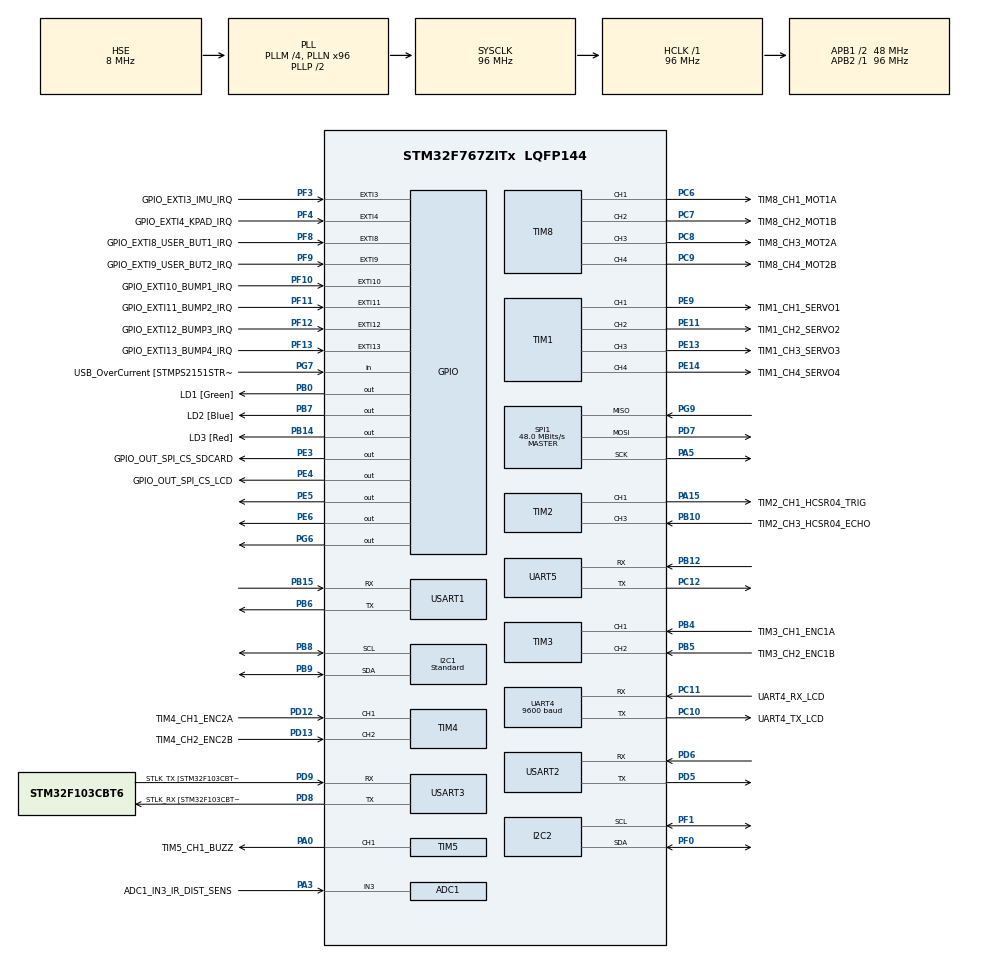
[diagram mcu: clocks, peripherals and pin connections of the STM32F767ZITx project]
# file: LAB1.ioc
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ADC1.Channel-1\#ChannelRegularConversion=ADC_CHANNEL_3
ADC1.NbrOfConversionFlag=1
ADC1.Rank-1\#ChannelRegularConversion=1
ADC1.SamplingTime-1\#ChannelRegularConversion=ADC_SAMPLETIME_3CYCLES
ADC1.master=1
I2C1.I2C_Speed_Mode=I2C_Standard
I2C1.Timing=0x20303E5D
I2C2.Timing=0x20303E5D
Mcu.Family=STM32F7
Mcu.Name=STM32F767ZITx
Mcu.Package=LQFP144
Mcu.UserConstants=TIM8_PSC_VALUE,959;TIM8_ARR_VALUE,400;TIM1_PSC_VALUE,959;TIM1_ARR_VALUE,200
NVIC.EXTI4_IRQn=true\:1\:0\:true\:false\:true\:true\:true\:true
NVIC.EXTI9_5_IRQn=true\:0\:0\:false\:false\:true\:true\:true\:true
NVIC.PriorityGroup=NVIC_PRIORITYGROUP_4
NVIC.TIM6_DAC_IRQn=true\:0\:0\:false\:false\:true\:true\:true\:true
PA0/WKUP.GPIO_Label=TIM5_CH1_BUZZ
PA0/WKUP.Signal=S_TIM5_CH1
PA1.GPIO_Label=RMII_REF_CLK [LAN8742A-CZ-TR_REFCLK0]
PA1.Signal=ETH_REF_CLK
PA10.GPIO_Label=USB_ID
PA10.Signal=USB_OTG_FS_ID
PA11.GPIO_Label=USB_DM
PA11.Signal=USB_OTG_FS_DM
PA12.GPIO_Label=USB_DP
PA12.Signal=USB_OTG_FS_DP
PA13.GPIO_Label=TMS
PA13.Mode=Serial_Wire
PA13.Signal=SYS_JTMS-SWDIO
PA14.GPIO_Label=TCK
PA14.Mode=Serial_Wire
PA14.Signal=SYS_JTCK-SWCLK
PA15.GPIO_Label=TIM2_CH1_HCSR04_TRIG
PA15.Signal=S_TIM2_CH1_ETR
PA2.GPIO_Label=RMII_MDIO [LAN8742A-CZ-TR_MDIO]
PA2.Signal=ETH_MDIO
PA3.GPIO_Label=ADC1_IN3_IR_DIST_SENS
PA3.Signal=ADCx_IN3
PA5.Mode=Full_Duplex_Master
PA5.Signal=SPI1_SCK
PA7.GPIO_Label=RMII_CRS_DV [LAN8742A-CZ-TR_CRS_DV]
PA7.Signal=ETH_CRS_DV
PA8.GPIO_Label=USB_SOF [TP1]
PA8.Signal=USB_OTG_FS_SOF
PA9.GPIO_Label=USB_VBUS
PA9.Signal=USB_OTG_FS_VBUS
PB0.GPIO_Label=LD1 [Green]
PB0.Signal=GPIO_Output
PB10.GPIO_Label=TIM2_CH3_HCSR04_ECHO
PB10.Signal=S_TIM2_CH3
PB12.Mode=Asynchronous
PB12.Signal=UART5_RX
PB13.GPIO_Label=RMII_TXD1 [LAN8742A-CZ-TR_TXD1]
PB13.Signal=ETH_TXD1
PB14.GPIO_Label=LD3 [Red]
PB14.Signal=GPIO_Output
PB15.Mode=Asynchronous
PB15.Signal=USART1_RX
PB3.GPIO_Label=SWO
PB3.Signal=SYS_JTDO-SWO
PB4.GPIO_Label=TIM3_CH1_ENC1A
PB4.Signal=S_TIM3_CH1
PB5.GPIO_Label=TIM3_CH2_ENC1B
PB5.Signal=S_TIM3_CH2
PB6.Mode=Asynchronous
PB6.Signal=USART1_TX
PB7.GPIO_Label=LD2 [Blue]
PB7.Signal=GPIO_Output
PB8.GPIO_Pu=GPIO_PULLUP
PB8.Mode=I2C
PB8.Signal=I2C1_SCL
PB9.GPIO_Pu=GPIO_PULLUP
PB9.Mode=I2C
PB9.Signal=I2C1_SDA
PC1.GPIO_Label=RMII_MDC [LAN8742A-CZ-TR_MDC]
PC1.Signal=ETH_MDC
PC10.GPIO_Label=UART4_TX_LCD
PC10.Mode=Asynchronous
PC10.Signal=UART4_TX
PC11.GPIO_Label=UART4_RX_LCD
PC11.Mode=Asynchronous
PC11.Signal=UART4_RX
PC12.Mode=Asynchronous
PC12.Signal=UART5_TX
PC14/OSC32_IN.Mode=LSE-External-Oscillator
PC14/OSC32_IN.Signal=RCC_OSC32_IN
PC15/OSC32_OUT.Mode=LSE-External-Oscillator
PC15/OSC32_OUT.Signal=RCC_OSC32_OUT
PC4.GPIO_Label=RMII_RXD0 [LAN8742A-CZ-TR_RXD0]
PC4.Signal=ETH_RXD0
PC5.GPIO_Label=RMII_RXD1 [LAN8742A-CZ-TR_RXD1]
PC5.Signal=ETH_RXD1
PC6.GPIO_Label=TIM8_CH1_MOT1A
PC6.Signal=S_TIM8_CH1
PC7.GPIO_Label=TIM8_CH2_MOT1B
PC7.Signal=S_TIM8_CH2
PC8.GPIO_Label=TIM8_CH3_MOT2A
PC8.Signal=S_TIM8_CH3
PC9.GPIO_Label=TIM8_CH4_MOT2B
PC9.Signal=S_TIM8_CH4
PD12.GPIO_Label=TIM4_CH1_ENC2A
PD12.Signal=S_TIM4_CH1
PD13.GPIO_Label=TIM4_CH2_ENC2B
PD13.Signal=S_TIM4_CH2
PD5.Mode=Asynchronous
PD5.Signal=USART2_TX
PD6.Mode=Asynchronous
PD6.Signal=USART2_RX
PD7.Mode=Full_Duplex_Master
PD7.Signal=SPI1_MOSI
PD8.GPIO_Label=STLK_RX [STM32F103CBT6_PA3]
PD8.Mode=Asynchronous
PD8.Signal=USART3_TX
PD9.GPIO_Label=STLK_TX [STM32F103CBT6_PA2]
PD9.Mode=Asynchronous
PD9.Signal=USART3_RX
PE11.GPIO_Label=TIM1_CH2_SERVO2
PE11.Signal=S_TIM1_CH2
PE13.GPIO_Label=TIM1_CH3_SERVO3
PE13.Signal=S_TIM1_CH3
PE14.GPIO_Label=TIM1_CH4_SERVO4
PE14.Signal=S_TIM1_CH4
PE3.GPIO_Label=GPIO_OUT_SPI_CS_SDCARD
PE3.Signal=GPIO_Output
PE4.GPIO_Label=GPIO_OUT_SPI_CS_LCD
PE4.Signal=GPIO_Output
PE5.Signal=GPIO_Output
PE6.Signal=GPIO_Output
PE9.GPIO_Label=TIM1_CH1_SERVO1
PE9.Signal=S_TIM1_CH1
PF0.GPIO_Pu=GPIO_PULLUP
PF0.Mode=I2C
PF0.Signal=I2C2_SDA
PF1.GPIO_Pu=GPIO_PULLUP
PF1.Mode=I2C
PF1.Signal=I2C2_SCL
PF10.GPIO_Label=GPIO_EXTI10_BUMP1_IRQ
PF10.Signal=GPXTI10
PF11.GPIO_Label=GPIO_EXTI11_BUMP2_IRQ
PF11.Signal=GPXTI11
PF12.GPIO_Label=GPIO_EXTI12_BUMP3_IRQ
PF12.Signal=GPXTI12
PF13.GPIO_Label=GPIO_EXTI13_BUMP4_IRQ
PF13.Signal=GPXTI13
PF3.GPIO_Label=GPIO_EXTI3_IMU_IRQ
PF3.Signal=GPXTI3
PF4.GPIO_Label=GPIO_EXTI4_KPAD_IRQ
PF4.GPIO_ModeDefaultEXTI=GPIO_MODE_IT_FALLING
PF4.Signal=GPXTI4
PF8.GPIO_Label=GPIO_EXTI8_USER_BUT1_IRQ
PF8.Signal=GPXTI8
PF9.GPIO_Label=GPIO_EXTI9_USER_BUT2_IRQ
PF9.Signal=GPXTI9
PG11.GPIO_Label=RMII_TX_EN [LAN8742A-CZ-TR_TXEN]
PG11.Signal=ETH_TX_EN
PG13.GPIO_Label=RMII_TXD0 [LAN8742A-CZ-TR_TXD0]
PG13.Signal=ETH_TXD0
PG6.Signal=GPIO_Output
PG7.GPIO_Label=USB_OverCurrent [STMPS2151STR_FAULT]
PG7.Signal=GPIO_Input
PG9.Mode=Full_Duplex_Master
PG9.Signal=SPI1_MISO
PH0/OSC_IN.GPIO_Label=MCO [STM32F103CBT6_PA8]
PH0/OSC_IN.Mode=HSE-External-Clock-Source
PH0/OSC_IN.Signal=RCC_OSC_IN
PH1/OSC_OUT.Mode=HSE-External-Clock-Source
PH1/OSC_OUT.Signal=RCC_OSC_OUT
ProjectManager.HeapSize=0x200
ProjectManager.StackSize=0x400
ProjectManager.TargetToolchain=STM32CubeIDE
RCC.48MHZClocksFreq_Value=24000000
RCC.AHBFreq_Value=96000000
RCC.APB1CLKDivider=RCC_HCLK_DIV2
RCC.APB1Freq_Value=48000000
RCC.APB1TimFreq_Value=96000000
RCC.APB2Freq_Value=96000000
RCC.APB2TimFreq_Value=96000000
RCC.CortexFreq_Value=96000000
RCC.HCLKFreq_Value=96000000
RCC.HSE_VALUE=8000000
RCC.HSI_VALUE=16000000
RCC.PLLM=4
RCC.PLLMUL=RCC_PLL_MUL9
RCC.PLLN=96
RCC.PLLQ=4
RCC.PLLSourceVirtual=RCC_PLLSOURCE_HSE
RCC.PRESCALERUSB=RCC_USBCLKSOURCE_PLL_DIV1_5
RCC.SYSCLKFreq_VALUE=96000000
RCC.SYSCLKSource=RCC_SYSCLKSOURCE_PLLCLK
RCC.SYSCLKSourceVirtual=RCC_SYSCLKSOURCE_PLLCLK
RCC.USBFreq_Value=48000000
RCC.VCOOutputFreq_Value=192000000
SH.ADCx_IN3.0=ADC1_IN3,IN3
SH.S_TIM1_CH1.0=TIM1_CH1,PWM Generation1 CH1
SH.S_TIM1_CH2.0=TIM1_CH2,PWM Generation2 CH2
SH.S_TIM1_CH3.0=TIM1_CH3,PWM Generation3 CH3
SH.S_TIM1_CH4.0=TIM1_CH4,PWM Generation4 CH4
SH.S_TIM2_CH1_ETR.0=TIM2_CH1,PWM Generation1 CH1
SH.S_TIM2_CH3.0=TIM2_CH3,Input_Capture3_from_TI3
SH.S_TIM3_CH1.0=TIM3_CH1,Encoder_Interface
SH.S_TIM3_CH2.0=TIM3_CH2,Encoder_Interface
SH.S_TIM4_CH1.0=TIM4_CH1,Encoder_Interface
SH.S_TIM4_CH2.0=TIM4_CH2,Encoder_Interface
SH.S_TIM5_CH1.0=TIM5_CH1,PWM Generation1 CH1
SH.S_TIM8_CH1.0=TIM8_CH1,PWM Generation1 CH1
SH.S_TIM8_CH2.0=TIM8_CH2,PWM Generation2 CH2
SH.S_TIM8_CH3.0=TIM8_CH3,PWM Generation3 CH3
SH.S_TIM8_CH4.0=TIM8_CH4,PWM Generation4 CH4
SPI1.CalculateBaudRate=48.0 MBits/s
SPI1.Direction=SPI_DIRECTION_2LINES
SPI1.Mode=SPI_MODE_MASTER
SPI1.VirtualType=VM_MASTER
TIM1.Channel-PWM\ Generation1\ CH1=TIM_CHANNEL_1
TIM1.Channel-PWM\ Generation2\ CH2=TIM_CHANNEL_2
TIM1.Channel-PWM\ Generation3\ CH3=TIM_CHANNEL_3
TIM1.Channel-PWM\ Generation4\ CH4=TIM_CHANNEL_4
TIM1.Period=TIM1_ARR_VALUE
TIM1.Prescaler=TIM1_PSC_VALUE
TIM2.Channel-Input_Capture3_from_TI3=TIM_CHANNEL_3
TIM2.Channel-PWM\ Generation1\ CH1=TIM_CHANNEL_1
TIM5.Channel-PWM\ Generation1\ CH1=TIM_CHANNEL_1
TIM6.AutoReloadPreload=TIM_AUTORELOAD_PRELOAD_ENABLE
TIM6.Period=999
TIM6.Prescaler=16999
TIM8.Channel-PWM\ Generation1\ CH1=TIM_CHANNEL_1
TIM8.Channel-PWM\ Generation2\ CH2=TIM_CHANNEL_2
TIM8.Channel-PWM\ Generation3\ CH3=TIM_CHANNEL_3
TIM8.Channel-PWM\ Generation4\ CH4=TIM_CHANNEL_4
TIM8.Period=TIM8_ARR_VALUE
TIM8.Prescaler=TIM8_PSC_VALUE
UART4.BaudRate=9600
USART1.VirtualMode-Asynchronous=VM_ASYNC
USART2.VirtualMode-Asynchronous=VM_ASYNC
USART3.VirtualMode-Asynchronous=VM_ASYNC
VP_TIM1_VS_ClockSourceINT.Mode=Internal
VP_TIM2_VS_ClockSourceINT.Mode=Internal
VP_TIM5_VS_ClockSourceINT.Mode=Internal
VP_TIM6_VS_ClockSourceINT.Mode=Enable_Timer
VP_TIM8_VS_ClockSourceINT.Mode=Internal
board=NUCLEO-F767ZI

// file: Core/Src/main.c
/* USER CODE BEGIN Header */
/**
 ******************************************************************************
 * @file           : main.c
 * @brief          : Main program body
 ******************************************************************************
 * @attention
 *
 * <h2><center>&copy; Copyright (c) 2021 STMicroelectronics.
 * All rights reserved.</center></h2>
 *
 * This software component is licensed by ST under BSD 3-Clause license,
 * the "License"; You may not use this file except in compliance with the
 * License. You may obtain a copy of the License at:
 *                        opensource.org/licenses/BSD-3-Clause
 *
 ******************************************************************************
 */
/* USER CODE END Header */
#include "main.h"

/* USER CODE BEGIN Includes */
#include <stdio.h>
#include <string.h>
#include "SX1509_Registers.h"
#include <math.h>
/* USER CODE END Includes */

/* USER CODE BEGIN PD */
#define HAL_TIMEOUT 100

#define I2C_TIMEOUT 200

#define SX1509_I2C_ADDR1 0x3E //	SX1509 Proxy Sensors I2C address
#define SX1509_I2C_ADDR2 0x3F //	SX1509 Keypad I2C address
/* USER CODE END PD */

ADC_HandleTypeDef hadc1;

I2C_HandleTypeDef hi2c1;
I2C_HandleTypeDef hi2c2;

SPI_HandleTypeDef hspi1;

TIM_HandleTypeDef htim1;
TIM_HandleTypeDef htim2;
TIM_HandleTypeDef htim3;
TIM_HandleTypeDef htim4;
TIM_HandleTypeDef htim5;
TIM_HandleTypeDef htim6;
TIM_HandleTypeDef htim8;

UART_HandleTypeDef huart4;
UART_HandleTypeDef huart5;
UART_HandleTypeDef huart1;
UART_HandleTypeDef huart2;
UART_HandleTypeDef huart3;

/* USER CODE BEGIN PV */
const char keypadLayout[4][4] = {
    {'*', '0', '#', 'D'},
    {'7', '8', '9', 'C'},
    {'4', '5', '6', 'B'},
    {'1', '2', '3', 'A'}};
/* USER CODE END PV */

void SystemClock_Config(void);
static void MX_GPIO_Init(void);
static void MX_USART3_UART_Init(void);
static void MX_ADC1_Init(void);
static void MX_I2C1_Init(void);
static void MX_I2C2_Init(void);
static void MX_SPI1_Init(void);
static void MX_TIM1_Init(void);
static void MX_TIM2_Init(void);
static void MX_TIM3_Init(void);
static void MX_TIM4_Init(void);
static void MX_TIM5_Init(void);
static void MX_TIM8_Init(void);
static void MX_UART4_Init(void);
static void MX_UART5_Init(void);
static void MX_USART1_UART_Init(void);
static void MX_USART2_UART_Init(void);
static void MX_TIM6_Init(void);
/* USER CODE BEGIN PFP */
extern void initialise_monitor_handles(void);
/* USER CODE END PFP */

/* USER CODE BEGIN 0 */

int frequency = 1;
int values[5];					// maximum 5 digits, i.e. all values from 0 to 99999
int counter = 0;				// counter for the values array

uint8_t extractIndex(uint8_t byte_sequence) {
	int k = 0;
	while ((byte_sequence & 1) != 1) {
		byte_sequence >>= 1;
		k++;
	}

	return k;
}

void HAL_GPIO_EXTI_Callback(uint16_t GPIO_Pin) {

	printf("Interrupt on pin (%d).\n", GPIO_Pin);
	/* your code here */

	if (GPIO_Pin == GPIO_EXTI4_KPAD_IRQ_Pin) {

		// ------ EXERCISE 1 ------

		uint8_t data_column;
		uint8_t data_row;
		HAL_StatusTypeDef status;

		// Read key data
		status = HAL_I2C_Mem_Read(&hi2c1, SX1509_I2C_ADDR2 << 1, REG_KEY_DATA_1, 1, &data_column, 1, I2C_TIMEOUT);
		if (status != HAL_OK) {
			printf("I2C communication error (%X).\n", status);
			return;
		}

		status = HAL_I2C_Mem_Read(&hi2c1, SX1509_I2C_ADDR2 << 1, REG_KEY_DATA_2, 1, &data_row, 1, I2C_TIMEOUT);
		if (status != HAL_OK) {
			printf("I2C communication error (%X).\n", status);
			return;
		}

		// ------ EXERCISE 2 ------

		// Convert key data into indexes
		uint8_t col_index = extractIndex(~data_column);
		uint8_t row_index = extractIndex(~data_row);

		char key = keypadLayout[row_index][col_index];

		printf("The following button has been pressed: (%c).\n", key);

		// ------ EXERCISE 4 ------

		// EASY PART

		/*if (key >= '0' && key <= '9') {
			frequency = key - '0';
		}*/

		// BONUS PART

		if (key >= '0' && key <= '9' && counter < 5) {			// if the key is not # and the maximum number of digits is not reached
			values[counter] = key - '0';
			counter++;
		} else if (key == '#'){									// if the key is #
			int final_freq = 0;
			for (int i = 0; i < counter; i++) {
				int power = pow(10, counter-i-1);
				final_freq = final_freq + values[i]*power;		// compute the final value using powers of 10
			}
			printf("Final frequency: %d Hz.\n", final_freq);
			counter = 0;
			for (int i = 0; i < 5; i++)
				values[i] = 0;

			frequency = final_freq;
		} else {												// if the maximum number of digits is reached
			printf("Maximum number of digits reached. Please insert another sequence of numbers.\n");
			counter = 0;
			for (int i = 0; i < 5; i++)
				values[i] = 0;
		}
	}

}

void HAL_TIM_PeriodElapsedCallback(TIM_HandleTypeDef *htim) {
	if (htim->Instance == TIM6) {

		// ------ EXERCISE 3 ------
		/*uint8_t line_sensor_data;
		HAL_StatusTypeDef status;

		status = HAL_I2C_Mem_Read(&hi2c1, SX1509_I2C_ADDR1 << 1, REG_DATA_B, 1, &line_sensor_data, 1, I2C_TIMEOUT);
		if (status != HAL_OK)
			printf("I2C communication error (%X).\n", status);
		else
			printf("I2C line sensor data (%X).\n", line_sensor_data);

		uint8_t lines_status[8] = 0;

		for (uint8_t i=0; i<8; i++) {
			if (line_sensor_data & 1) {
				lines_status[i] = 1;
				printf("Sensor line (%d) has detected something.\n", i);
			}
			line_sensor_data >>= 1;
		}*/

	}
}

/* USER CODE END 0 */

int main(void)
{

  /* USER CODE BEGIN 1 */
  uint8_t data;
  HAL_StatusTypeDef status;
  /* USER CODE END 1 */

  /* MCU Configuration--------------------------------------------------------*/

  /* Reset of all peripherals, Initializes the Flash interface and the Systick. */
  HAL_Init();

  /* Configure the system clock */
  SystemClock_Config();

  /* USER CODE BEGIN SysInit */
  initialise_monitor_handles();
  /* USER CODE END SysInit */

  /* Initialize all configured peripherals */
  MX_GPIO_Init();
  MX_USART3_UART_Init();
  MX_ADC1_Init();
  MX_I2C1_Init();
  MX_I2C2_Init();
  MX_SPI1_Init();
  MX_TIM1_Init();
  MX_TIM2_Init();
  MX_TIM3_Init();
  MX_TIM4_Init();
  MX_TIM5_Init();
  MX_TIM8_Init();
  MX_UART4_Init();
  MX_UART5_Init();
  MX_USART1_UART_Init();
  MX_USART2_UART_Init();
  MX_TIM6_Init();
  /* USER CODE BEGIN 2 */

  /* Disable LCD SPI SS */
  HAL_GPIO_WritePin(GPIO_OUT_SPI_CS_LCD_GPIO_Port, GPIO_OUT_SPI_CS_LCD_Pin, GPIO_PIN_SET);

  /* Disable EXTI4_IRQ during SX1509 initialization */
  HAL_NVIC_DisableIRQ(EXTI4_IRQn);

  /* Software reset */
  data = 0x12;
  status = HAL_I2C_Mem_Write(&hi2c1, SX1509_I2C_ADDR2 << 1, REG_RESET, 1, &data, 1, I2C_TIMEOUT);
  if (status != HAL_OK)
    printf("I2C communication error (%X).\n", status);

  data = 0x34;
  status = HAL_I2C_Mem_Write(&hi2c1, SX1509_I2C_ADDR2 << 1, REG_RESET, 1, &data, 1, I2C_TIMEOUT);
  if (status != HAL_OK)
    printf("I2C communication error (%X).\n", status);

  HAL_Delay(100);

  /* Set KeyPad scanning engine */

  /* Set RegClock to 0x40 (enable internal oscillator; 2MHz freq) */
  data = 0x40;
  status = HAL_I2C_Mem_Write(&hi2c1, SX1509_I2C_ADDR2 << 1, REG_CLOCK, 1, &data, 1, I2C_TIMEOUT);
  if (status != HAL_OK)
    printf("I2C communication error (%X).\n", status);

  /* Set Bank A RegDir to 0xF0 (IO[0:3] as out) */
  data = 0xF0;
  status = HAL_I2C_Mem_Write(&hi2c1, SX1509_I2C_ADDR2 << 1, REG_DIR_A, 1, &data, 1, I2C_TIMEOUT);
  if (status != HAL_OK)
    printf("I2C communication error (%X).\n", status);

  /* Set Bank B RegDir to 0x0F (IO[8:11] as in) */
  data = 0x0F;
  status = HAL_I2C_Mem_Write(&hi2c1, SX1509_I2C_ADDR2 << 1, REG_DIR_B, 1, &data, 1, I2C_TIMEOUT);
  if (status != HAL_OK)
    printf("I2C communication error (%X).\n", status);

  /* Set Bank A RegOpenDrain to 0x0F (IO[0:3] as open-drain outputs) */
  data = 0x0F;
  status = HAL_I2C_Mem_Write(&hi2c1, SX1509_I2C_ADDR2 << 1, REG_OPEN_DRAIN_A, 1, &data, 1, I2C_TIMEOUT);
  if (status != HAL_OK)
    printf("I2C communication error (%X).\n", status);

  /* Set Bank B RegPullup to 0x0F (pull-ups enabled on inputs IO[8:11]) */
  data = 0x0F;
  status = HAL_I2C_Mem_Write(&hi2c1, SX1509_I2C_ADDR2 << 1, REG_PULL_UP_B, 1, &data, 1, I2C_TIMEOUT);
  if (status != HAL_OK)
    printf("I2C communication error (%X).\n", status);

  /* Set Bank B RegDebounceEnable to 0x0F (enable debouncing on IO[8:11]) */
  data = 0x0F;
  status = HAL_I2C_Mem_Write(&hi2c1, SX1509_I2C_ADDR2 << 1, REG_DEBOUNCE_ENABLE_B, 1, &data, 1, I2C_TIMEOUT);
  if (status != HAL_OK)
    printf("I2C communication error (%X).\n", status);

  /* Set RegDebounceConfig to 0x05 (16ms debounce time) */
  data = 0x05;
  status = HAL_I2C_Mem_Write(&hi2c1, SX1509_I2C_ADDR2 << 1, REG_DEBOUNCE_CONFIG, 1, &data, 1, I2C_TIMEOUT);
  if (status != HAL_OK)
    printf("I2C communication error (%X).\n", status);

  /* Set RegKeyConfig1 to 0x7D (8s auto-sleep; 32ms scan time per row) */
  data = 0x7D;
  status = HAL_I2C_Mem_Write(&hi2c1, SX1509_I2C_ADDR2 << 1, REG_KEY_CONFIG_1, 1, &data, 1, I2C_TIMEOUT);
  if (status != HAL_OK)
    printf("I2C communication error (%X).\n", status);

  /* Set RegKeyConfig2 to 0x1B (4 rows; 4 columns) */
  data = 0x1B;
  status = HAL_I2C_Mem_Write(&hi2c1, SX1509_I2C_ADDR2 << 1, REG_KEY_CONFIG_2, 1, &data, 1, I2C_TIMEOUT);
  if (status != HAL_OK)
    printf("I2C communication error (%X).\n", status);

  /* Enable EXTI4_IRQ after SX1509 initialization */
  HAL_Delay(100);
  HAL_NVIC_EnableIRQ(EXTI4_IRQn);

  /* Disable EXTI2_IRQ during SX1509 initialization */
  HAL_NVIC_DisableIRQ(EXTI2_IRQn);

  /* Software reset */
  data = 0x12;
  status = HAL_I2C_Mem_Write(&hi2c1, SX1509_I2C_ADDR1 << 1, REG_RESET, 1, &data, 1, I2C_TIMEOUT);
  if (status != HAL_OK)
    printf("I2C communication error (%X).\n", status);

  data = 0x34;
  status = HAL_I2C_Mem_Write(&hi2c1, SX1509_I2C_ADDR1 << 1, REG_RESET, 1, &data, 1, I2C_TIMEOUT);
  if (status != HAL_OK)
    printf("I2C communication error (%X).\n", status);

  HAL_Delay(100);

  /* Set RegDirA to 0xFF (all IO of Bank A configured as inputs) */
  data = 0xFF; // 0 = out; 1 = in
  status = HAL_I2C_Mem_Write(&hi2c1, SX1509_I2C_ADDR1 << 1, REG_DIR_A, 1, &data, 1, I2C_TIMEOUT);
  if (status != HAL_OK)
    printf("I2C communication error (%X).\n", status);

  /* Set RegDirB to 0xFF (all IO of Bank B configured as inputs) */
  data = 0xFF; // 0 = out; 1 = in
  status = HAL_I2C_Mem_Write(&hi2c1, SX1509_I2C_ADDR1 << 1, REG_DIR_B, 1, &data, 1, I2C_TIMEOUT);
  if (status != HAL_OK)
    printf("I2C communication error (%X).\n", status);

  /* Set RegInterruptMaskA to 0x00 (all IO of Bank A will trigger an interrupt) */
  data = 0x00;
  status = HAL_I2C_Mem_Write(&hi2c1, SX1509_I2C_ADDR1 << 1, REG_INTERRUPT_MASK_A, 1, &data, 1, I2C_TIMEOUT);
  if (status != HAL_OK)
    printf("I2C communication error (%X).\n", status);

  /* Set RegSenseHighA to 0xAA (IO[7:4] of Bank A will trigger an interrupt on falling edge) */
  data = 0xAA;
  status = HAL_I2C_Mem_Write(&hi2c1, SX1509_I2C_ADDR1 << 1, REG_SENSE_HIGH_A, 1, &data, 1, I2C_TIMEOUT);
  if (status != HAL_OK)
    printf("I2C communication error (%X).\n", status);

  /* Set RegSenseLowA to 0xAA (IO[3:0] of Bank A will trigger an interrupt on falling edge) */
  data = 0xAA;
  status = HAL_I2C_Mem_Write(&hi2c1, SX1509_I2C_ADDR1 << 1, REG_SENSE_LOW_A, 1, &data, 1, I2C_TIMEOUT);
  if (status != HAL_OK)
    printf("I2C communication error (%X).\n", status);

  /* Enable EXTI2_IRQ after SX1509 initialization */
  HAL_Delay(100);
  HAL_NVIC_EnableIRQ(EXTI2_IRQn);

  printf("Ready\n");

  HAL_TIM_Base_Start_IT(&htim6);

  /* USER CODE END 2 */

  /* Infinite loop */
  while (1)
  {

    /* USER CODE BEGIN 3 */

	// ------ EXERCISE 4 ------

	HAL_GPIO_TogglePin(GPIOE, GPIO_PIN_5);
	HAL_Delay(1000/frequency);

  }
  /* USER CODE END 3 */
}

void SystemClock_Config(void)
{
  RCC_OscInitTypeDef RCC_OscInitStruct = {0};
  RCC_ClkInitTypeDef RCC_ClkInitStruct = {0};

  /** Configure LSE Drive Capability
  */
  HAL_PWR_EnableBkUpAccess();

  /** Configure the main internal regulator output voltage
  */
  __HAL_RCC_PWR_CLK_ENABLE();
  __HAL_PWR_VOLTAGESCALING_CONFIG(PWR_REGULATOR_VOLTAGE_SCALE3);

  /** Initializes the RCC Oscillators according to the specified parameters
  * in the RCC_OscInitTypeDef structure.
  */
  RCC_OscInitStruct.OscillatorType = RCC_OSCILLATORTYPE_HSE;
  RCC_OscInitStruct.HSEState = RCC_HSE_BYPASS;
  RCC_OscInitStruct.PLL.PLLState = RCC_PLL_ON;
  RCC_OscInitStruct.PLL.PLLSource = RCC_PLLSOURCE_HSE;
  RCC_OscInitStruct.PLL.PLLM = 4;
  RCC_OscInitStruct.PLL.PLLN = 96;
  RCC_OscInitStruct.PLL.PLLP = RCC_PLLP_DIV2;
  RCC_OscInitStruct.PLL.PLLQ = 4;
  RCC_OscInitStruct.PLL.PLLR = 2;
  if (HAL_RCC_OscConfig(&RCC_OscInitStruct) != HAL_OK)
  {
    Error_Handler();
  }

  /** Activate the Over-Drive mode
  */
  if (HAL_PWREx_EnableOverDrive() != HAL_OK)
  {
    Error_Handler();
  }

  /** Initializes the CPU, AHB and APB buses clocks
  */
  RCC_ClkInitStruct.ClockType = RCC_CLOCKTYPE_HCLK|RCC_CLOCKTYPE_SYSCLK
                              |RCC_CLOCKTYPE_PCLK1|RCC_CLOCKTYPE_PCLK2;
  RCC_ClkInitStruct.SYSCLKSource = RCC_SYSCLKSOURCE_PLLCLK;
  RCC_ClkInitStruct.AHBCLKDivider = RCC_SYSCLK_DIV1;
  RCC_ClkInitStruct.APB1CLKDivider = RCC_HCLK_DIV2;
  RCC_ClkInitStruct.APB2CLKDivider = RCC_HCLK_DIV1;

  if (HAL_RCC_ClockConfig(&RCC_ClkInitStruct, FLASH_LATENCY_3) != HAL_OK)
  {
    Error_Handler();
  }
}

static void MX_ADC1_Init(void)
{

  ADC_ChannelConfTypeDef sConfig = {0};

  /** Configure the global features of the ADC (Clock, Resolution, Data Alignment and number of conversion)
  */
  hadc1.Instance = ADC1;
  hadc1.Init.ClockPrescaler = ADC_CLOCK_SYNC_PCLK_DIV4;
  hadc1.Init.Resolution = ADC_RESOLUTION_12B;
  hadc1.Init.ScanConvMode = ADC_SCAN_DISABLE;
  hadc1.Init.ContinuousConvMode = DISABLE;
  hadc1.Init.DiscontinuousConvMode = DISABLE;
  hadc1.Init.ExternalTrigConvEdge = ADC_EXTERNALTRIGCONVEDGE_NONE;
  hadc1.Init.ExternalTrigConv = ADC_SOFTWARE_START;
  hadc1.Init.DataAlign = ADC_DATAALIGN_RIGHT;
  hadc1.Init.NbrOfConversion = 1;
  hadc1.Init.DMAContinuousRequests = DISABLE;
  hadc1.Init.EOCSelection = ADC_EOC_SINGLE_CONV;
  if (HAL_ADC_Init(&hadc1) != HAL_OK)
  {
    Error_Handler();
  }

  /** Configure for the selected ADC regular channel its corresponding rank in the sequencer and its sample time.
  */
  sConfig.Channel = ADC_CHANNEL_3;
  sConfig.Rank = ADC_REGULAR_RANK_1;
  sConfig.SamplingTime = ADC_SAMPLETIME_3CYCLES;
  if (HAL_ADC_ConfigChannel(&hadc1, &sConfig) != HAL_OK)
  {
    Error_Handler();
  }

}

static void MX_I2C1_Init(void)
{

  hi2c1.Instance = I2C1;
  hi2c1.Init.Timing = 0x20303E5D;
  hi2c1.Init.OwnAddress1 = 0;
  hi2c1.Init.AddressingMode = I2C_ADDRESSINGMODE_7BIT;
  hi2c1.Init.DualAddressMode = I2C_DUALADDRESS_DISABLE;
  hi2c1.Init.OwnAddress2 = 0;
  hi2c1.Init.OwnAddress2Masks = I2C_OA2_NOMASK;
  hi2c1.Init.GeneralCallMode = I2C_GENERALCALL_DISABLE;
  hi2c1.Init.NoStretchMode = I2C_NOSTRETCH_DISABLE;
  if (HAL_I2C_Init(&hi2c1) != HAL_OK)
  {
    Error_Handler();
  }

  /** Configure Analogue filter
  */
  if (HAL_I2CEx_ConfigAnalogFilter(&hi2c1, I2C_ANALOGFILTER_ENABLE) != HAL_OK)
  {
    Error_Handler();
  }

  /** Configure Digital filter
  */
  if (HAL_I2CEx_ConfigDigitalFilter(&hi2c1, 0) != HAL_OK)
  {
    Error_Handler();
  }

}

static void MX_I2C2_Init(void)
{

  hi2c2.Instance = I2C2;
  hi2c2.Init.Timing = 0x20303E5D;
  hi2c2.Init.OwnAddress1 = 0;
  hi2c2.Init.AddressingMode = I2C_ADDRESSINGMODE_7BIT;
  hi2c2.Init.DualAddressMode = I2C_DUALADDRESS_DISABLE;
  hi2c2.Init.OwnAddress2 = 0;
  hi2c2.Init.OwnAddress2Masks = I2C_OA2_NOMASK;
  hi2c2.Init.GeneralCallMode = I2C_GENERALCALL_DISABLE;
  hi2c2.Init.NoStretchMode = I2C_NOSTRETCH_DISABLE;
  if (HAL_I2C_Init(&hi2c2) != HAL_OK)
  {
    Error_Handler();
  }

  /** Configure Analogue filter
  */
  if (HAL_I2CEx_ConfigAnalogFilter(&hi2c2, I2C_ANALOGFILTER_ENABLE) != HAL_OK)
  {
    Error_Handler();
  }

  /** Configure Digital filter
  */
  if (HAL_I2CEx_ConfigDigitalFilter(&hi2c2, 0) != HAL_OK)
  {
    Error_Handler();
  }

}

static void MX_SPI1_Init(void)
{

  /* SPI1 parameter configuration*/
  hspi1.Instance = SPI1;
  hspi1.Init.Mode = SPI_MODE_MASTER;
  hspi1.Init.Direction = SPI_DIRECTION_2LINES;
  hspi1.Init.DataSize = SPI_DATASIZE_4BIT;
  hspi1.Init.CLKPolarity = SPI_POLARITY_LOW;
  hspi1.Init.CLKPhase = SPI_PHASE_1EDGE;
  hspi1.Init.NSS = SPI_NSS_SOFT;
  hspi1.Init.BaudRatePrescaler = SPI_BAUDRATEPRESCALER_2;
  hspi1.Init.FirstBit = SPI_FIRSTBIT_MSB;
  hspi1.Init.TIMode = SPI_TIMODE_DISABLE;
  hspi1.Init.CRCCalculation = SPI_CRCCALCULATION_DISABLE;
  hspi1.Init.CRCPolynomial = 7;
  hspi1.Init.CRCLength = SPI_CRC_LENGTH_DATASIZE;
  hspi1.Init.NSSPMode = SPI_NSS_PULSE_ENABLE;
  if (HAL_SPI_Init(&hspi1) != HAL_OK)
  {
    Error_Handler();
  }

}

static void MX_TIM1_Init(void)
{

  TIM_ClockConfigTypeDef sClockSourceConfig = {0};
  TIM_MasterConfigTypeDef sMasterConfig = {0};
  TIM_OC_InitTypeDef sConfigOC = {0};
  TIM_BreakDeadTimeConfigTypeDef sBreakDeadTimeConfig = {0};

  htim1.Instance = TIM1;
  htim1.Init.Prescaler = TIM1_PSC_VALUE;
  htim1.Init.CounterMode = TIM_COUNTERMODE_UP;
  htim1.Init.Period = TIM1_ARR_VALUE;
  htim1.Init.ClockDivision = TIM_CLOCKDIVISION_DIV1;
  htim1.Init.RepetitionCounter = 0;
  htim1.Init.AutoReloadPreload = TIM_AUTORELOAD_PRELOAD_DISABLE;
  if (HAL_TIM_Base_Init(&htim1) != HAL_OK)
  {
    Error_Handler();
  }
  sClockSourceConfig.ClockSource = TIM_CLOCKSOURCE_INTERNAL;
  if (HAL_TIM_ConfigClockSource(&htim1, &sClockSourceConfig) != HAL_OK)
  {
    Error_Handler();
  }
  if (HAL_TIM_PWM_Init(&htim1) != HAL_OK)
  {
    Error_Handler();
  }
  sMasterConfig.MasterOutputTrigger = TIM_TRGO_RESET;
  sMasterConfig.MasterOutputTrigger2 = TIM_TRGO2_RESET;
  sMasterConfig.MasterSlaveMode = TIM_MASTERSLAVEMODE_DISABLE;
  if (HAL_TIMEx_MasterConfigSynchronization(&htim1, &sMasterConfig) != HAL_OK)
  {
    Error_Handler();
  }
  sConfigOC.OCMode = TIM_OCMODE_PWM1;
  sConfigOC.Pulse = 0;
  sConfigOC.OCPolarity = TIM_OCPOLARITY_HIGH;
  sConfigOC.OCNPolarity = TIM_OCNPOLARITY_HIGH;
  sConfigOC.OCFastMode = TIM_OCFAST_DISABLE;
  sConfigOC.OCIdleState = TIM_OCIDLESTATE_RESET;
  sConfigOC.OCNIdleState = TIM_OCNIDLESTATE_RESET;
  if (HAL_TIM_PWM_ConfigChannel(&htim1, &sConfigOC, TIM_CHANNEL_1) != HAL_OK)
  {
    Error_Handler();
  }
  if (HAL_TIM_PWM_ConfigChannel(&htim1, &sConfigOC, TIM_CHANNEL_2) != HAL_OK)
  {
    Error_Handler();
  }
  if (HAL_TIM_PWM_ConfigChannel(&htim1, &sConfigOC, TIM_CHANNEL_3) != HAL_OK)
  {
    Error_Handler();
  }
  if (HAL_TIM_PWM_ConfigChannel(&htim1, &sConfigOC, TIM_CHANNEL_4) != HAL_OK)
  {
    Error_Handler();
  }
  sBreakDeadTimeConfig.OffStateRunMode = TIM_OSSR_DISABLE;
  sBreakDeadTimeConfig.OffStateIDLEMode = TIM_OSSI_DISABLE;
  sBreakDeadTimeConfig.LockLevel = TIM_LOCKLEVEL_OFF;
  sBreakDeadTimeConfig.DeadTime = 0;
  sBreakDeadTimeConfig.BreakState = TIM_BREAK_DISABLE;
  sBreakDeadTimeConfig.BreakPolarity = TIM_BREAKPOLARITY_HIGH;
  sBreakDeadTimeConfig.BreakFilter = 0;
  sBreakDeadTimeConfig.Break2State = TIM_BREAK2_DISABLE;
  sBreakDeadTimeConfig.Break2Polarity = TIM_BREAK2POLARITY_HIGH;
  sBreakDeadTimeConfig.Break2Filter = 0;
  sBreakDeadTimeConfig.AutomaticOutput = TIM_AUTOMATICOUTPUT_DISABLE;
  if (HAL_TIMEx_ConfigBreakDeadTime(&htim1, &sBreakDeadTimeConfig) != HAL_OK)
  {
    Error_Handler();
  }
  HAL_TIM_MspPostInit(&htim1);

}

static void MX_TIM2_Init(void)
{

  TIM_ClockConfigTypeDef sClockSourceConfig = {0};
  TIM_MasterConfigTypeDef sMasterConfig = {0};
  TIM_OC_InitTypeDef sConfigOC = {0};
  TIM_IC_InitTypeDef sConfigIC = {0};

  htim2.Instance = TIM2;
  htim2.Init.Prescaler = 0;
  htim2.Init.CounterMode = TIM_COUNTERMODE_UP;
  htim2.Init.Period = 4294967295;
  htim2.Init.ClockDivision = TIM_CLOCKDIVISION_DIV1;
  htim2.Init.AutoReloadPreload = TIM_AUTORELOAD_PRELOAD_DISABLE;
  if (HAL_TIM_Base_Init(&htim2) != HAL_OK)
  {
    Error_Handler();
  }
  sClockSourceConfig.ClockSource = TIM_CLOCKSOURCE_INTERNAL;
  if (HAL_TIM_ConfigClockSource(&htim2, &sClockSourceConfig) != HAL_OK)
  {
    Error_Handler();
  }
  if (HAL_TIM_PWM_Init(&htim2) != HAL_OK)
  {
    Error_Handler();
  }
  if (HAL_TIM_IC_Init(&htim2) != HAL_OK)
  {
    Error_Handler();
  }
  sMasterConfig.MasterOutputTrigger = TIM_TRGO_RESET;
  sMasterConfig.MasterSlaveMode = TIM_MASTERSLAVEMODE_DISABLE;
  if (HAL_TIMEx_MasterConfigSynchronization(&htim2, &sMasterConfig) != HAL_OK)
  {
    Error_Handler();
  }
  sConfigOC.OCMode = TIM_OCMODE_PWM1;
  sConfigOC.Pulse = 0;
  sConfigOC.OCPolarity = TIM_OCPOLARITY_HIGH;
  sConfigOC.OCFastMode = TIM_OCFAST_DISABLE;
  if (HAL_TIM_PWM_ConfigChannel(&htim2, &sConfigOC, TIM_CHANNEL_1) != HAL_OK)
  {
    Error_Handler();
  }
  sConfigIC.ICPolarity = TIM_INPUTCHANNELPOLARITY_RISING;
  sConfigIC.ICSelection = TIM_ICSELECTION_DIRECTTI;
  sConfigIC.ICPrescaler = TIM_ICPSC_DIV1;
  sConfigIC.ICFilter = 0;
  if (HAL_TIM_IC_ConfigChannel(&htim2, &sConfigIC, TIM_CHANNEL_3) != HAL_OK)
  {
    Error_Handler();
  }
  HAL_TIM_MspPostInit(&htim2);

}

static void MX_TIM3_Init(void)
{

  TIM_Encoder_InitTypeDef sConfig = {0};
  TIM_MasterConfigTypeDef sMasterConfig = {0};

  htim3.Instance = TIM3;
  htim3.Init.Prescaler = 0;
  htim3.Init.CounterMode = TIM_COUNTERMODE_UP;
  htim3.Init.Period = 65535;
  htim3.Init.ClockDivision = TIM_CLOCKDIVISION_DIV1;
  htim3.Init.AutoReloadPreload = TIM_AUTORELOAD_PRELOAD_DISABLE;
  sConfig.EncoderMode = TIM_ENCODERMODE_TI1;
  sConfig.IC1Polarity = TIM_ICPOLARITY_RISING;
  sConfig.IC1Selection = TIM_ICSELECTION_DIRECTTI;
  sConfig.IC1Prescaler = TIM_ICPSC_DIV1;
  sConfig.IC1Filter = 0;
  sConfig.IC2Polarity = TIM_ICPOLARITY_RISING;
  sConfig.IC2Selection = TIM_ICSELECTION_DIRECTTI;
  sConfig.IC2Prescaler = TIM_ICPSC_DIV1;
  sConfig.IC2Filter = 0;
  if (HAL_TIM_Encoder_Init(&htim3, &sConfig) != HAL_OK)
  {
    Error_Handler();
  }
  sMasterConfig.MasterOutputTrigger = TIM_TRGO_RESET;
  sMasterConfig.MasterSlaveMode = TIM_MASTERSLAVEMODE_DISABLE;
  if (HAL_TIMEx_MasterConfigSynchronization(&htim3, &sMasterConfig) != HAL_OK)
  {
    Error_Handler();
  }

}

static void MX_TIM4_Init(void)
{

  TIM_Encoder_InitTypeDef sConfig = {0};
  TIM_MasterConfigTypeDef sMasterConfig = {0};

  htim4.Instance = TIM4;
  htim4.Init.Prescaler = 0;
  htim4.Init.CounterMode = TIM_COUNTERMODE_UP;
  htim4.Init.Period = 65535;
  htim4.Init.ClockDivision = TIM_CLOCKDIVISION_DIV1;
  htim4.Init.AutoReloadPreload = TIM_AUTORELOAD_PRELOAD_DISABLE;
  sConfig.EncoderMode = TIM_ENCODERMODE_TI1;
  sConfig.IC1Polarity = TIM_ICPOLARITY_RISING;
  sConfig.IC1Selection = TIM_ICSELECTION_DIRECTTI;
  sConfig.IC1Prescaler = TIM_ICPSC_DIV1;
  sConfig.IC1Filter = 0;
  sConfig.IC2Polarity = TIM_ICPOLARITY_RISING;
  sConfig.IC2Selection = TIM_ICSELECTION_DIRECTTI;
  sConfig.IC2Prescaler = TIM_ICPSC_DIV1;
  sConfig.IC2Filter = 0;
  if (HAL_TIM_Encoder_Init(&htim4, &sConfig) != HAL_OK)
  {
    Error_Handler();
  }
  sMasterConfig.MasterOutputTrigger = TIM_TRGO_RESET;
  sMasterConfig.MasterSlaveMode = TIM_MASTERSLAVEMODE_DISABLE;
  if (HAL_TIMEx_MasterConfigSynchronization(&htim4, &sMasterConfig) != HAL_OK)
  {
    Error_Handler();
  }

}

static void MX_TIM5_Init(void)
{

  TIM_ClockConfigTypeDef sClockSourceConfig = {0};
  TIM_MasterConfigTypeDef sMasterConfig = {0};
  TIM_OC_InitTypeDef sConfigOC = {0};

  htim5.Instance = TIM5;
  htim5.Init.Prescaler = 0;
  htim5.Init.CounterMode = TIM_COUNTERMODE_UP;
  htim5.Init.Period = 4294967295;
  htim5.Init.ClockDivision = TIM_CLOCKDIVISION_DIV1;
  htim5.Init.AutoReloadPreload = TIM_AUTORELOAD_PRELOAD_DISABLE;
  if (HAL_TIM_Base_Init(&htim5) != HAL_OK)
  {
    Error_Handler();
  }
  sClockSourceConfig.ClockSource = TIM_CLOCKSOURCE_INTERNAL;
  if (HAL_TIM_ConfigClockSource(&htim5, &sClockSourceConfig) != HAL_OK)
  {
    Error_Handler();
  }
  if (HAL_TIM_PWM_Init(&htim5) != HAL_OK)
  {
    Error_Handler();
  }
  sMasterConfig.MasterOutputTrigger = TIM_TRGO_RESET;
  sMasterConfig.MasterSlaveMode = TIM_MASTERSLAVEMODE_DISABLE;
  if (HAL_TIMEx_MasterConfigSynchronization(&htim5, &sMasterConfig) != HAL_OK)
  {
    Error_Handler();
  }
  sConfigOC.OCMode = TIM_OCMODE_PWM1;
  sConfigOC.Pulse = 0;
  sConfigOC.OCPolarity = TIM_OCPOLARITY_HIGH;
  sConfigOC.OCFastMode = TIM_OCFAST_DISABLE;
  if (HAL_TIM_PWM_ConfigChannel(&htim5, &sConfigOC, TIM_CHANNEL_1) != HAL_OK)
  {
    Error_Handler();
  }
  HAL_TIM_MspPostInit(&htim5);

}

static void MX_TIM6_Init(void)
{

  TIM_MasterConfigTypeDef sMasterConfig = {0};

  htim6.Instance = TIM6;
  htim6.Init.Prescaler = 16999;
  htim6.Init.CounterMode = TIM_COUNTERMODE_UP;
  htim6.Init.Period = 999;
  htim6.Init.AutoReloadPreload = TIM_AUTORELOAD_PRELOAD_ENABLE;
  if (HAL_TIM_Base_Init(&htim6) != HAL_OK)
  {
    Error_Handler();
  }
  sMasterConfig.MasterOutputTrigger = TIM_TRGO_RESET;
  sMasterConfig.MasterSlaveMode = TIM_MASTERSLAVEMODE_DISABLE;
  if (HAL_TIMEx_MasterConfigSynchronization(&htim6, &sMasterConfig) != HAL_OK)
  {
    Error_Handler();
  }

}

static void MX_TIM8_Init(void)
{

  TIM_ClockConfigTypeDef sClockSourceConfig = {0};
  TIM_MasterConfigTypeDef sMasterConfig = {0};
  TIM_OC_InitTypeDef sConfigOC = {0};
  TIM_BreakDeadTimeConfigTypeDef sBreakDeadTimeConfig = {0};

  htim8.Instance = TIM8;
  htim8.Init.Prescaler = TIM8_PSC_VALUE;
  htim8.Init.CounterMode = TIM_COUNTERMODE_UP;
  htim8.Init.Period = TIM8_ARR_VALUE;
  htim8.Init.ClockDivision = TIM_CLOCKDIVISION_DIV1;
  htim8.Init.RepetitionCounter = 0;
  htim8.Init.AutoReloadPreload = TIM_AUTORELOAD_PRELOAD_DISABLE;
  if (HAL_TIM_Base_Init(&htim8) != HAL_OK)
  {
    Error_Handler();
  }
  sClockSourceConfig.ClockSource = TIM_CLOCKSOURCE_INTERNAL;
  if (HAL_TIM_ConfigClockSource(&htim8, &sClockSourceConfig) != HAL_OK)
  {
    Error_Handler();
  }
  if (HAL_TIM_PWM_Init(&htim8) != HAL_OK)
  {
    Error_Handler();
  }
  sMasterConfig.MasterOutputTrigger = TIM_TRGO_RESET;
  sMasterConfig.MasterOutputTrigger2 = TIM_TRGO2_RESET;
  sMasterConfig.MasterSlaveMode = TIM_MASTERSLAVEMODE_DISABLE;
  if (HAL_TIMEx_MasterConfigSynchronization(&htim8, &sMasterConfig) != HAL_OK)
  {
    Error_Handler();
  }
  sConfigOC.OCMode = TIM_OCMODE_PWM1;
  sConfigOC.Pulse = 0;
  sConfigOC.OCPolarity = TIM_OCPOLARITY_HIGH;
  sConfigOC.OCNPolarity = TIM_OCNPOLARITY_HIGH;
  sConfigOC.OCFastMode = TIM_OCFAST_DISABLE;
  sConfigOC.OCIdleState = TIM_OCIDLESTATE_RESET;
  sConfigOC.OCNIdleState = TIM_OCNIDLESTATE_RESET;
  if (HAL_TIM_PWM_ConfigChannel(&htim8, &sConfigOC, TIM_CHANNEL_1) != HAL_OK)
  {
    Error_Handler();
  }
  if (HAL_TIM_PWM_ConfigChannel(&htim8, &sConfigOC, TIM_CHANNEL_2) != HAL_OK)
  {
    Error_Handler();
  }
  if (HAL_TIM_PWM_ConfigChannel(&htim8, &sConfigOC, TIM_CHANNEL_3) != HAL_OK)
  {
    Error_Handler();
  }
  if (HAL_TIM_PWM_ConfigChannel(&htim8, &sConfigOC, TIM_CHANNEL_4) != HAL_OK)
  {
    Error_Handler();
  }
  sBreakDeadTimeConfig.OffStateRunMode = TIM_OSSR_DISABLE;
  sBreakDeadTimeConfig.OffStateIDLEMode = TIM_OSSI_DISABLE;
  sBreakDeadTimeConfig.LockLevel = TIM_LOCKLEVEL_OFF;
  sBreakDeadTimeConfig.DeadTime = 0;
  sBreakDeadTimeConfig.BreakState = TIM_BREAK_DISABLE;
  sBreakDeadTimeConfig.BreakPolarity = TIM_BREAKPOLARITY_HIGH;
  sBreakDeadTimeConfig.BreakFilter = 0;
  sBreakDeadTimeConfig.Break2State = TIM_BREAK2_DISABLE;
  sBreakDeadTimeConfig.Break2Polarity = TIM_BREAK2POLARITY_HIGH;
  sBreakDeadTimeConfig.Break2Filter = 0;
  sBreakDeadTimeConfig.AutomaticOutput = TIM_AUTOMATICOUTPUT_DISABLE;
  if (HAL_TIMEx_ConfigBreakDeadTime(&htim8, &sBreakDeadTimeConfig) != HAL_OK)
  {
    Error_Handler();
  }
  HAL_TIM_MspPostInit(&htim8);

}

static void MX_UART4_Init(void)
{

  huart4.Instance = UART4;
  huart4.Init.BaudRate = 9600;
  huart4.Init.WordLength = UART_WORDLENGTH_8B;
  huart4.Init.StopBits = UART_STOPBITS_1;
  huart4.Init.Parity = UART_PARITY_NONE;
  huart4.Init.Mode = UART_MODE_TX_RX;
  huart4.Init.HwFlowCtl = UART_HWCONTROL_NONE;
  huart4.Init.OverSampling = UART_OVERSAMPLING_16;
  huart4.Init.OneBitSampling = UART_ONE_BIT_SAMPLE_DISABLE;
  huart4.AdvancedInit.AdvFeatureInit = UART_ADVFEATURE_NO_INIT;
  if (HAL_UART_Init(&huart4) != HAL_OK)
  {
    Error_Handler();
  }

}

static void MX_UART5_Init(void)
{

  huart5.Instance = UART5;
  huart5.Init.BaudRate = 115200;
  huart5.Init.WordLength = UART_WORDLENGTH_8B;
  huart5.Init.StopBits = UART_STOPBITS_1;
  huart5.Init.Parity = UART_PARITY_NONE;
  huart5.Init.Mode = UART_MODE_TX_RX;
  huart5.Init.HwFlowCtl = UART_HWCONTROL_NONE;
  huart5.Init.OverSampling = UART_OVERSAMPLING_16;
  huart5.Init.OneBitSampling = UART_ONE_BIT_SAMPLE_DISABLE;
  huart5.AdvancedInit.AdvFeatureInit = UART_ADVFEATURE_NO_INIT;
  if (HAL_UART_Init(&huart5) != HAL_OK)
  {
    Error_Handler();
  }

}

static void MX_USART1_UART_Init(void)
{

  huart1.Instance = USART1;
  huart1.Init.BaudRate = 115200;
  huart1.Init.WordLength = UART_WORDLENGTH_8B;
  huart1.Init.StopBits = UART_STOPBITS_1;
  huart1.Init.Parity = UART_PARITY_NONE;
  huart1.Init.Mode = UART_MODE_TX_RX;
  huart1.Init.HwFlowCtl = UART_HWCONTROL_NONE;
  huart1.Init.OverSampling = UART_OVERSAMPLING_16;
  huart1.Init.OneBitSampling = UART_ONE_BIT_SAMPLE_DISABLE;
  huart1.AdvancedInit.AdvFeatureInit = UART_ADVFEATURE_NO_INIT;
  if (HAL_UART_Init(&huart1) != HAL_OK)
  {
    Error_Handler();
  }

}

static void MX_USART2_UART_Init(void)
{

  huart2.Instance = USART2;
  huart2.Init.BaudRate = 115200;
  huart2.Init.WordLength = UART_WORDLENGTH_8B;
  huart2.Init.StopBits = UART_STOPBITS_1;
  huart2.Init.Parity = UART_PARITY_NONE;
  huart2.Init.Mode = UART_MODE_TX_RX;
  huart2.Init.HwFlowCtl = UART_HWCONTROL_NONE;
  huart2.Init.OverSampling = UART_OVERSAMPLING_16;
  huart2.Init.OneBitSampling = UART_ONE_BIT_SAMPLE_DISABLE;
  huart2.AdvancedInit.AdvFeatureInit = UART_ADVFEATURE_NO_INIT;
  if (HAL_UART_Init(&huart2) != HAL_OK)
  {
    Error_Handler();
  }

}

static void MX_USART3_UART_Init(void)
{

  huart3.Instance = USART3;
  huart3.Init.BaudRate = 115200;
  huart3.Init.WordLength = UART_WORDLENGTH_8B;
  huart3.Init.StopBits = UART_STOPBITS_1;
  huart3.Init.Parity = UART_PARITY_NONE;
  huart3.Init.Mode = UART_MODE_TX_RX;
  huart3.Init.HwFlowCtl = UART_HWCONTROL_NONE;
  huart3.Init.OverSampling = UART_OVERSAMPLING_16;
  huart3.Init.OneBitSampling = UART_ONE_BIT_SAMPLE_DISABLE;
  huart3.AdvancedInit.AdvFeatureInit = UART_ADVFEATURE_NO_INIT;
  if (HAL_UART_Init(&huart3) != HAL_OK)
  {
    Error_Handler();
  }

}

static void MX_GPIO_Init(void)
{
  GPIO_InitTypeDef GPIO_InitStruct = {0};

  /* GPIO Ports Clock Enable */
  __HAL_RCC_GPIOE_CLK_ENABLE();
  __HAL_RCC_GPIOC_CLK_ENABLE();
  __HAL_RCC_GPIOF_CLK_ENABLE();
  __HAL_RCC_GPIOH_CLK_ENABLE();
  __HAL_RCC_GPIOA_CLK_ENABLE();
  __HAL_RCC_GPIOB_CLK_ENABLE();
  __HAL_RCC_GPIOD_CLK_ENABLE();
  __HAL_RCC_GPIOG_CLK_ENABLE();

  /*Configure GPIO pin Output Level */
  HAL_GPIO_WritePin(GPIOE, GPIO_OUT_SPI_CS_SDCARD_Pin|GPIO_OUT_SPI_CS_LCD_Pin|GPIO_PIN_5|GPIO_PIN_6, GPIO_PIN_RESET);

  /*Configure GPIO pin Output Level */
  HAL_GPIO_WritePin(GPIOB, LD1_Pin|LD3_Pin|LD2_Pin, GPIO_PIN_RESET);

  /*Configure GPIO pin Output Level */
  HAL_GPIO_WritePin(GPIOG, GPIO_PIN_6, GPIO_PIN_RESET);

  /*Configure GPIO pins : GPIO_OUT_SPI_CS_SDCARD_Pin GPIO_OUT_SPI_CS_LCD_Pin PE5 PE6 */
  GPIO_InitStruct.Pin = GPIO_OUT_SPI_CS_SDCARD_Pin|GPIO_OUT_SPI_CS_LCD_Pin|GPIO_PIN_5|GPIO_PIN_6;
  GPIO_InitStruct.Mode = GPIO_MODE_OUTPUT_PP;
  GPIO_InitStruct.Pull = GPIO_NOPULL;
  GPIO_InitStruct.Speed = GPIO_SPEED_FREQ_LOW;
  HAL_GPIO_Init(GPIOE, &GPIO_InitStruct);

  /*Configure GPIO pins : GPIO_EXTI3_IMU_IRQ_Pin GPIO_EXTI8_USER_BUT1_IRQ_Pin GPIO_EXTI9_USER_BUT2_IRQ_Pin GPIO_EXTI10_BUMP1_IRQ_Pin
                           GPIO_EXTI11_BUMP2_IRQ_Pin GPIO_EXTI12_BUMP3_IRQ_Pin GPIO_EXTI13_BUMP4_IRQ_Pin */
  GPIO_InitStruct.Pin = GPIO_EXTI3_IMU_IRQ_Pin|GPIO_EXTI8_USER_BUT1_IRQ_Pin|GPIO_EXTI9_USER_BUT2_IRQ_Pin|GPIO_EXTI10_BUMP1_IRQ_Pin
                          |GPIO_EXTI11_BUMP2_IRQ_Pin|GPIO_EXTI12_BUMP3_IRQ_Pin|GPIO_EXTI13_BUMP4_IRQ_Pin;
  GPIO_InitStruct.Mode = GPIO_MODE_IT_RISING;
  GPIO_InitStruct.Pull = GPIO_NOPULL;
  HAL_GPIO_Init(GPIOF, &GPIO_InitStruct);

  /*Configure GPIO pin : GPIO_EXTI4_KPAD_IRQ_Pin */
  GPIO_InitStruct.Pin = GPIO_EXTI4_KPAD_IRQ_Pin;
  GPIO_InitStruct.Mode = GPIO_MODE_IT_FALLING;
  GPIO_InitStruct.Pull = GPIO_NOPULL;
  HAL_GPIO_Init(GPIO_EXTI4_KPAD_IRQ_GPIO_Port, &GPIO_InitStruct);

  /*Configure GPIO pins : RMII_MDC_Pin RMII_RXD0_Pin RMII_RXD1_Pin */
  GPIO_InitStruct.Pin = RMII_MDC_Pin|RMII_RXD0_Pin|RMII_RXD1_Pin;
  GPIO_InitStruct.Mode = GPIO_MODE_AF_PP;
  GPIO_InitStruct.Pull = GPIO_NOPULL;
  GPIO_InitStruct.Speed = GPIO_SPEED_FREQ_VERY_HIGH;
  GPIO_InitStruct.Alternate = GPIO_AF11_ETH;
  HAL_GPIO_Init(GPIOC, &GPIO_InitStruct);

  /*Configure GPIO pins : RMII_REF_CLK_Pin RMII_MDIO_Pin RMII_CRS_DV_Pin */
  GPIO_InitStruct.Pin = RMII_REF_CLK_Pin|RMII_MDIO_Pin|RMII_CRS_DV_Pin;
  GPIO_InitStruct.Mode = GPIO_MODE_AF_PP;
  GPIO_InitStruct.Pull = GPIO_NOPULL;
  GPIO_InitStruct.Speed = GPIO_SPEED_FREQ_VERY_HIGH;
  GPIO_InitStruct.Alternate = GPIO_AF11_ETH;
  HAL_GPIO_Init(GPIOA, &GPIO_InitStruct);

  /*Configure GPIO pins : LD1_Pin LD3_Pin LD2_Pin */
  GPIO_InitStruct.Pin = LD1_Pin|LD3_Pin|LD2_Pin;
  GPIO_InitStruct.Mode = GPIO_MODE_OUTPUT_PP;
  GPIO_InitStruct.Pull = GPIO_NOPULL;
  GPIO_InitStruct.Speed = GPIO_SPEED_FREQ_LOW;
  HAL_GPIO_Init(GPIOB, &GPIO_InitStruct);

  /*Configure GPIO pin : RMII_TXD1_Pin */
  GPIO_InitStruct.Pin = RMII_TXD1_Pin;
  GPIO_InitStruct.Mode = GPIO_MODE_AF_PP;
  GPIO_InitStruct.Pull = GPIO_NOPULL;
  GPIO_InitStruct.Speed = GPIO_SPEED_FREQ_VERY_HIGH;
  GPIO_InitStruct.Alternate = GPIO_AF11_ETH;
  HAL_GPIO_Init(RMII_TXD1_GPIO_Port, &GPIO_InitStruct);

  /*Configure GPIO pin : PG6 */
  GPIO_InitStruct.Pin = GPIO_PIN_6;
  GPIO_InitStruct.Mode = GPIO_MODE_OUTPUT_PP;
  GPIO_InitStruct.Pull = GPIO_NOPULL;
  GPIO_InitStruct.Speed = GPIO_SPEED_FREQ_LOW;
  HAL_GPIO_Init(GPIOG, &GPIO_InitStruct);

  /*Configure GPIO pin : USB_OverCurrent_Pin */
  GPIO_InitStruct.Pin = USB_OverCurrent_Pin;
  GPIO_InitStruct.Mode = GPIO_MODE_INPUT;
  GPIO_InitStruct.Pull = GPIO_NOPULL;
  HAL_GPIO_Init(USB_OverCurrent_GPIO_Port, &GPIO_InitStruct);

  /*Configure GPIO pins : USB_SOF_Pin USB_ID_Pin USB_DM_Pin USB_DP_Pin */
  GPIO_InitStruct.Pin = USB_SOF_Pin|USB_ID_Pin|USB_DM_Pin|USB_DP_Pin;
  GPIO_InitStruct.Mode = GPIO_MODE_AF_PP;
  GPIO_InitStruct.Pull = GPIO_NOPULL;
  GPIO_InitStruct.Speed = GPIO_SPEED_FREQ_VERY_HIGH;
  GPIO_InitStruct.Alternate = GPIO_AF10_OTG_FS;
  HAL_GPIO_Init(GPIOA, &GPIO_InitStruct);

  /*Configure GPIO pin : USB_VBUS_Pin */
  GPIO_InitStruct.Pin = USB_VBUS_Pin;
  GPIO_InitStruct.Mode = GPIO_MODE_INPUT;
  GPIO_InitStruct.Pull = GPIO_NOPULL;
  HAL_GPIO_Init(USB_VBUS_GPIO_Port, &GPIO_InitStruct);

  /*Configure GPIO pins : RMII_TX_EN_Pin RMII_TXD0_Pin */
  GPIO_InitStruct.Pin = RMII_TX_EN_Pin|RMII_TXD0_Pin;
  GPIO_InitStruct.Mode = GPIO_MODE_AF_PP;
  GPIO_InitStruct.Pull = GPIO_NOPULL;
  GPIO_InitStruct.Speed = GPIO_SPEED_FREQ_VERY_HIGH;
  GPIO_InitStruct.Alternate = GPIO_AF11_ETH;
  HAL_GPIO_Init(GPIOG, &GPIO_InitStruct);

  /* EXTI interrupt init*/
  HAL_NVIC_SetPriority(EXTI4_IRQn, 1, 0);
  HAL_NVIC_EnableIRQ(EXTI4_IRQn);

  HAL_NVIC_SetPriority(EXTI9_5_IRQn, 0, 0);
  HAL_NVIC_EnableIRQ(EXTI9_5_IRQn);

}

void Error_Handler(void)
{
  __disable_irq();
  while (1)
  {
  }
}
